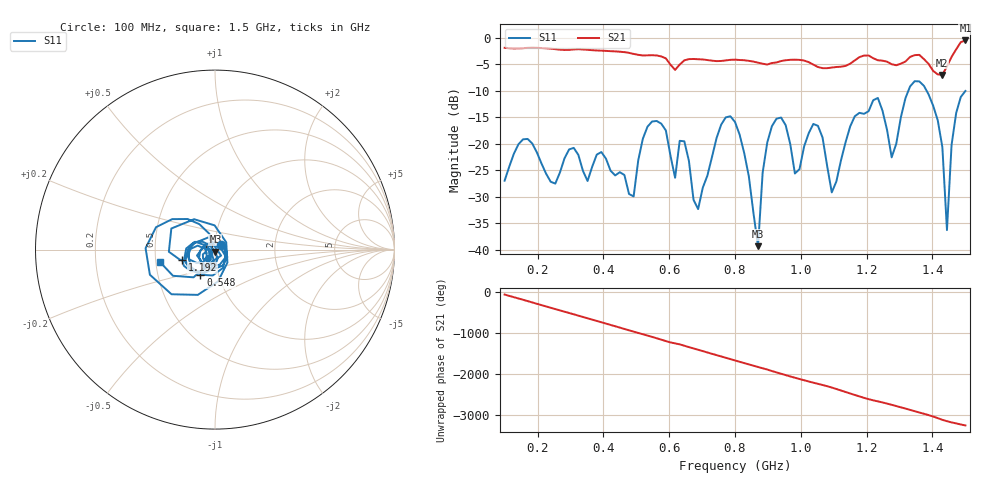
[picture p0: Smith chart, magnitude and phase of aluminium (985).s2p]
! NanoVNA-App
! Date: 2025-09-25 15:02:57
! Start: 100MHz Stop: 1,5GHz Points: 101
! S-Parameter data: F S11 S21 S12 S22
# Hz S RI R 50
!  Frequency  S11_Real  S11_Imag  S21_Real  S21_Imag  S12_Real  S12_Imag  S22_Real  S22_Imag
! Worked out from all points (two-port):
!   101 points, 100 MHz to 1.5 GHz, reference 50 ohm
!   highest |S21| = -0.53 dB at 1.5 GHz (marker M1); lowest = -7.0 dB at 1.43 GHz (marker M2)
!   |S21| within 3 dB of the highest: start of sweep to 575.2 MHz; 1.459 GHz to end of sweep (the widest 2 of 4)
!   lowest |S11| = -39.3 dB at 870 MHz (marker M3), VSWR 1.02, Z = 50.2 - j1.07 ohm
!   |S11| at or under -10 dB: start of sweep to 1.327 GHz; 1.382 GHz to end of sweep
!   S12 and S22 are empty: the file has one direction only
!   S11 on the Smith chart (normalised r, x): 100 MHz: 1.07, +0.06; 548 MHz: 0.82, -0.24; 1.192 GHz: 0.69, -0.08; 1.5 GHz: 0.53, -0.08
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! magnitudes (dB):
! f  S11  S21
! 100 MHz  -27.0  -1.9
! 156 MHz  -19.2  -2.0
! 338 MHz  -25.1  -2.2
! 492 MHz  -29.9  -3.1
! 548 MHz  -15.8  -3.3
! 576 MHz  -16.2  -3.5
! 646 MHz  -19.5  -4.3
! 688 MHz  -32.3  -4.1
! 800 MHz  -15.9  -4.2
! 870 MHz  -39.3  -4.7
! 912 MHz  -16.7  -4.8
! 982 MHz  -25.6  -4.2
! 1.038 GHz  -16.3  -5.1
! 1.094 GHz  -29.2  -5.6
! 1.192 GHz  -14.4  -3.4
! 1.234 GHz  -11.4  -4.3
! 1.276 GHz  -22.6  -5.0
! 1.346 GHz  -8.2  -3.3
! 1.43 GHz  -20.6  -7.0
! 1.444 GHz  -36.3  -5.4
! 1.458 GHz  -20.2  -3.6
! 1.5 GHz  -10.0  -0.5
